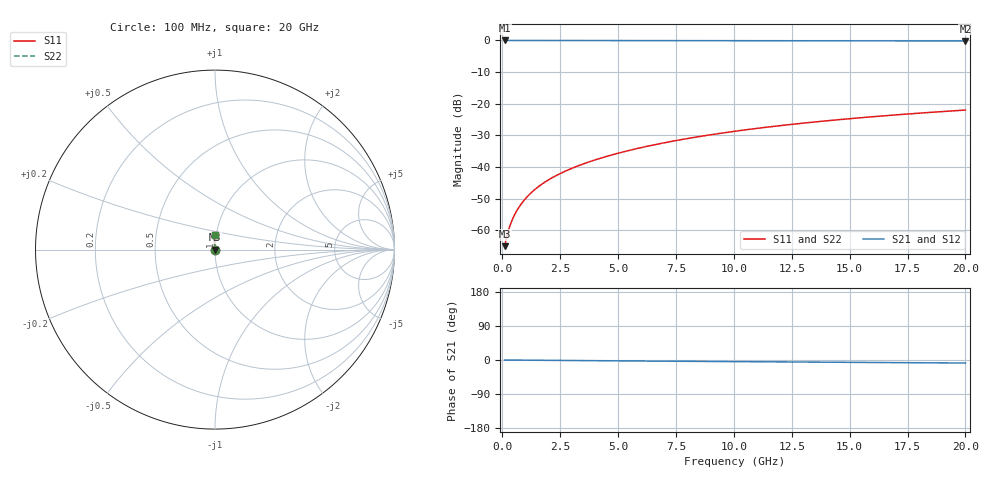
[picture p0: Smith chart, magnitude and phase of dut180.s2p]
! Touchstone file exported from HFSS 2024.1.0
!  File:  C:/UserFiles/LocalFiles/RDL_TSV_Batchsim/temp_RDL_bottom_180_1778698644.aedt
!  Generated:  02:59:23 AM May 14, 2026
!  Design:  RDL_bottom
!  Project:  temp_RDL_bottom_180_1778698644
!  Setup:  Setup1
!  Solution:  Sweep
! Variables:
!  dtsv = 10.80580581um
!  hbump = 3um
!  htsv = 74.83um
!  ldown = 100.5um
!  lrdl = 100um
!  p = 40
!  p1 = 47.91um
!  rhole = 1um
!  t = 450um
!  tdown = 4.94um
!  trdl = 3.915915916um
!  wdown = 27.7um
!  wrdl = 20um
# GHz S MA R 50.000000
! Terminal data exported
! Port[1] = RDL1_T1
! Port[2] = RDL1_T2
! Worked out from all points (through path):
!   200 points, 100 MHz to 20 GHz, reference 50 ohm
!   highest |S21| = 0.00 dB at 100 MHz (marker M1); lowest = -0.2 dB at 20 GHz (marker M2)
!   group delay of S21, straight-line fit = 1.1 ps
!   lowest |S11| = -65.0 dB at 100 MHz (marker M3), VSWR 1.00, Z = 50 + j0.0357 ohm
!   |S11| at or under -10 dB: start of sweep to end of sweep
!   |S22| runs from -65.0 to -22.0 dB; largest |S21 - S12| = 4.8e-15
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0.1  0.0005636 39.3  0.9996 -0.1  0.9996 -0.1  0.0005636 39.3
! Gamma 0 0 0 0
! Port Impedance 50 0 50 0
0.2  0.0008263 55.5  0.9995 -0.1  0.9995 -0.1  0.0008263 55.5
0.3  0.001102 63.7  0.9995 -0.1  0.9995 -0.1  0.001102 63.7
0.4  0.001384 69.0  0.9994 -0.2  0.9994 -0.2  0.001384 69.0
0.5  0.001673 72.7  0.9994 -0.2  0.9994 -0.2  0.001673 72.7
0.6  0.001966 75.5  0.9994 -0.3  0.9994 -0.3  0.001966 75.5
0.8  0.002565 79.3  0.9993 -0.4  0.9993 -0.4  0.002565 79.3
1.1  0.003479 82.8  0.9992 -0.5  0.9992 -0.5  0.003479 82.8
1.5  0.004719 85.6  0.999 -0.7  0.999 -0.7  0.004719 85.6
1.8  0.005662 87.1  0.9988 -0.9  0.9988 -0.9  0.005662 87.1
2.1  0.006615 88.3  0.9986 -1.0  0.9986 -1.0  0.006615 88.3
2.7  0.008557 90.1  0.9982 -1.3  0.9982 -1.3  0.008557 90.1
3.5  0.01123 91.8  0.9974 -1.6  0.9974 -1.6  0.01123 91.8
4.2  0.01366 92.8  0.9967 -1.9  0.9967 -1.9  0.01366 92.8
5  0.01655 93.7  0.9958 -2.3  0.9958 -2.3  0.01655 93.7
6.8  0.02343 94.7  0.9937 -3.0  0.9937 -3.0  0.02343 94.7
8.4  0.02991 94.7  0.992 -3.7  0.992 -3.7  0.02991 94.7
10.1  0.03703 94.2  0.9903 -4.3  0.9903 -4.3  0.03703 94.2
11.7  0.04386 93.5  0.9888 -4.9  0.9888 -4.9  0.04386 93.5
13.4  0.05119 92.6  0.9873 -5.6  0.9873 -5.6  0.05119 92.6
16.7  0.06545 90.6  0.9848 -6.8  0.9848 -6.8  0.06544 90.6
20  0.07962 88.6  0.9825 -8.0  0.9825 -8.0  0.07962 88.6
